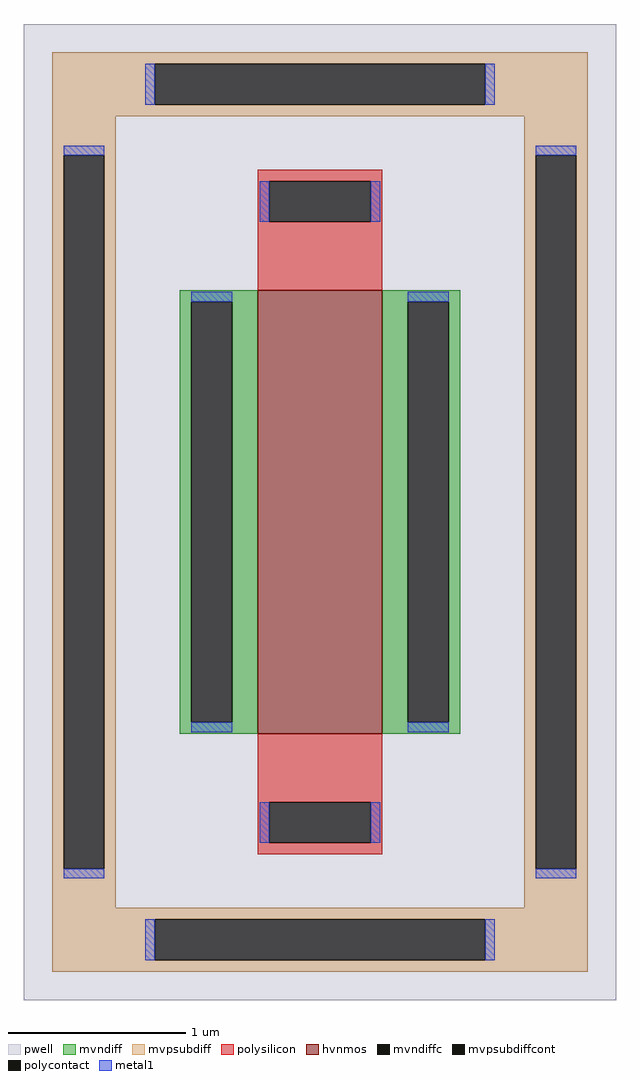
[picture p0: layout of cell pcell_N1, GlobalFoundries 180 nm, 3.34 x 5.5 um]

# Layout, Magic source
magic
tech gf180mcuD
magscale 1 10
<< pwell >>
rect -334 -550 334 550
<< hvnmos >>
rect -70 -250 70 250
<< mvndiff >>
rect -158 237 -70 250
rect -158 -237 -145 237
rect -99 -237 -70 237
rect -158 -250 -70 -237
rect 70 237 158 250
rect 70 -237 99 237
rect 145 -237 158 237
rect 70 -250 158 -237
<< mvndiffc >>
rect -145 -237 -99 237
rect 99 -237 145 237
<< mvpsubdiff >>
rect -302 505 302 518
rect -302 459 -186 505
rect 186 459 302 505
rect -302 446 302 459
rect -302 402 -230 446
rect -302 -402 -289 402
rect -243 -402 -230 402
rect 230 402 302 446
rect -302 -446 -230 -402
rect 230 -402 243 402
rect 289 -402 302 402
rect 230 -446 302 -402
rect -302 -459 302 -446
rect -302 -505 -186 -459
rect 186 -505 302 -459
rect -302 -518 302 -505
<< mvpsubdiffcont >>
rect -186 459 186 505
rect -289 -402 -243 402
rect 243 -402 289 402
rect -186 -505 186 -459
<< polysilicon >>
rect -70 373 70 386
rect -70 327 -57 373
rect 57 327 70 373
rect -70 250 70 327
rect -70 -327 70 -250
rect -70 -373 -57 -327
rect 57 -373 70 -327
rect -70 -386 70 -373
<< polycontact >>
rect -57 327 57 373
rect -57 -373 57 -327
<< metal1 >>
rect -197 459 -186 505
rect 186 459 197 505
rect -289 402 -243 413
rect 243 402 289 413
rect -68 327 -57 373
rect 57 327 68 373
rect -145 237 -99 248
rect -145 -248 -99 -237
rect 99 237 145 248
rect 99 -248 145 -237
rect -68 -373 -57 -327
rect 57 -373 68 -327
rect -289 -413 -243 -402
rect 243 -413 289 -402
rect -197 -505 -186 -459
rect 186 -505 197 -459
<< properties >>
string FIXED_BBOX -2660 -4820 2660 4820
<< end >>
